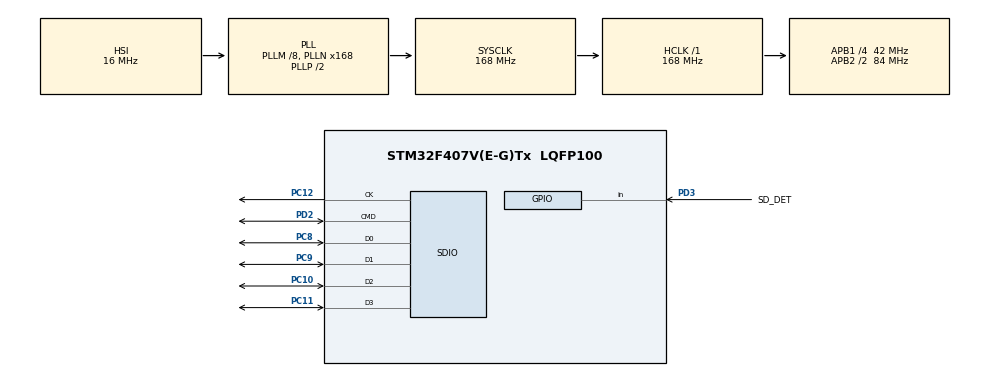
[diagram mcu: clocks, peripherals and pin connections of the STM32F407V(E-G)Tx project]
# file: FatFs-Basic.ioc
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FATFS.BSP.number=1
FATFS._CODE_PAGE=437
FATFS._LFN_UNICODE=0
FATFS._USE_LFN=1
FATFS0.BSP.STBoard=false
FATFS0.BSP.api=Unknown
FATFS0.BSP.i2caddr=0
FATFS0.BSP.instance=PD3
FATFS0.BSP.ip=GPIO
FATFS0.BSP.mode=Input
FATFS0.BSP.name=Detect_SDIO
FATFS0.BSP.solution=PD3
Mcu.Family=STM32F4
Mcu.Name=STM32F407V(E-G)Tx
Mcu.Package=LQFP100
NVIC.PriorityGroup=NVIC_PRIORITYGROUP_4
PC10.Mode=SD_4_bits_Wide_bus
PC10.Signal=SDIO_D2
PC11.Mode=SD_4_bits_Wide_bus
PC11.Signal=SDIO_D3
PC12.Mode=SD_4_bits_Wide_bus
PC12.Signal=SDIO_CK
PC8.Mode=SD_4_bits_Wide_bus
PC8.Signal=SDIO_D0
PC9.Mode=SD_4_bits_Wide_bus
PC9.Signal=SDIO_D1
PD2.Mode=SD_4_bits_Wide_bus
PD2.Signal=SDIO_CMD
PD3.GPIO_Label=SD_DET
PD3.Signal=GPIO_Input
ProjectManager.HeapSize=0x200
ProjectManager.StackSize=0x400
ProjectManager.TargetToolchain=MDK-ARM V5.27
RCC.48MHZClocksFreq_Value=48000000
RCC.AHBFreq_Value=168000000
RCC.APB1CLKDivider=RCC_HCLK_DIV4
RCC.APB1Freq_Value=42000000
RCC.APB1TimFreq_Value=84000000
RCC.APB2CLKDivider=RCC_HCLK_DIV2
RCC.APB2Freq_Value=84000000
RCC.APB2TimFreq_Value=168000000
RCC.CortexFreq_Value=168000000
RCC.HCLKFreq_Value=168000000
RCC.HSE_VALUE=25000000
RCC.HSI_VALUE=16000000
RCC.LSE_VALUE=32768
RCC.PLLM=8
RCC.PLLN=168
RCC.PLLQ=7
RCC.SYSCLKFreq_VALUE=168000000
RCC.SYSCLKSource=RCC_SYSCLKSOURCE_PLLCLK
RCC.VCOOutputFreq_Value=336000000
SDIO.ClockDiv=6
VP_FATFS_VS_SDIO.Mode=SDIO
board=custom

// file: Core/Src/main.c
/* USER CODE BEGIN Header */
/**
  ******************************************************************************
  * @file           : main.c
  * @brief          : Main program body
  ******************************************************************************
  * @attention
  *
  * <h2><center>&copy; Copyright (c) 2024 STMicroelectronics.
  * All rights reserved.</center></h2>
  *
  * This software component is licensed by ST under BSD 3-Clause license,
  * the "License"; You may not use this file except in compliance with the
  * License. You may obtain a copy of the License at:
  *                        opensource.org/licenses/BSD-3-Clause
  *
  ******************************************************************************
  */
/* USER CODE END Header */
#include "main.h"
#include "fatfs.h"
#include "sdio.h"
#include "gpio.h"

/* USER CODE BEGIN Includes */
#include "ALCD.h"
/* USER CODE END Includes */

/* USER CODE BEGIN PV */

// Relative Path:   "<file_name>"       : from current directory
// Relative Path:   "./<file_name>"     : from current directory
// Relative Path:   "../<file_name>"    : from parrent director
// Relative Path:   "../../<file_name>" : from parrent-parrent director
// Absulot Path:    "<drive_num>:/<file_name>"
static const char TEMP_FILE_PATH[] = "MyTest.txt";

static const char STARTUP_FILE[] = "0:/startup.conf";

static const char TEMPLATE[] = "Hello form Nira Board";
/* USER CODE END PV */

void SystemClock_Config(void);

int main(void)
{

  /* MCU Configuration--------------------------------------------------------*/

  /* Reset of all peripherals, Initializes the Flash interface and the Systick. */
  HAL_Init();

  /* Configure the system clock */
  SystemClock_Config();

  /* Initialize all configured peripherals */
  MX_GPIO_Init();
  MX_SDIO_SD_Init();
  MX_FATFS_Init();
  /* USER CODE BEGIN 2 */
  ALCD_init(16, 2);
  ALCD_clear();
  // Mount SD Card
  if (f_mount(&SDFatFS, SDPath, 1) == FR_OK) {
    // Open File for Write
    if (f_open(&SDFile, TEMP_FILE_PATH, FA_CREATE_ALWAYS | FA_WRITE) == FR_OK) {
      // Write Operation
      uint32_t writeBytes;

      f_write(&SDFile, TEMPLATE, sizeof(TEMPLATE) - 1, &writeBytes);
      // Wait for write complete
      while (writeBytes < sizeof(TEMPLATE) - 1);
      // Close file
      f_close(&SDFile);
    }
    // Open File for Read
    if (f_open(&SDFile, STARTUP_FILE, FA_OPEN_EXISTING | FA_READ) == FR_OK) {
      // Write Operation
      char buf[64];
      uint32_t readBytes;

      f_read(&SDFile, buf, sizeof(buf) - 1, &readBytes);
      // Wait for read complete
      while (readBytes < sizeof(buf) - 1 && !f_eof(&SDFile));
      buf[readBytes] = '\0';
      // Close File
      f_close(&SDFile);
      // Print Startup
      ALCD_putsXY(0, 0, buf);
    }
  }

  /* USER CODE END 2 */

  /* Infinite loop */
  while (1)
  {

  }
}

void SystemClock_Config(void)
{
  RCC_OscInitTypeDef RCC_OscInitStruct = {0};
  RCC_ClkInitTypeDef RCC_ClkInitStruct = {0};

  /** Configure the main internal regulator output voltage
  */
  __HAL_RCC_PWR_CLK_ENABLE();
  __HAL_PWR_VOLTAGESCALING_CONFIG(PWR_REGULATOR_VOLTAGE_SCALE1);
  /** Initializes the RCC Oscillators according to the specified parameters
  * in the RCC_OscInitTypeDef structure.
  */
  RCC_OscInitStruct.OscillatorType = RCC_OSCILLATORTYPE_HSI;
  RCC_OscInitStruct.HSIState = RCC_HSI_ON;
  RCC_OscInitStruct.HSICalibrationValue = RCC_HSICALIBRATION_DEFAULT;
  RCC_OscInitStruct.PLL.PLLState = RCC_PLL_ON;
  RCC_OscInitStruct.PLL.PLLSource = RCC_PLLSOURCE_HSI;
  RCC_OscInitStruct.PLL.PLLM = 8;
  RCC_OscInitStruct.PLL.PLLN = 168;
  RCC_OscInitStruct.PLL.PLLP = RCC_PLLP_DIV2;
  RCC_OscInitStruct.PLL.PLLQ = 7;
  if (HAL_RCC_OscConfig(&RCC_OscInitStruct) != HAL_OK)
  {
    Error_Handler();
  }
  /** Initializes the CPU, AHB and APB buses clocks
  */
  RCC_ClkInitStruct.ClockType = RCC_CLOCKTYPE_HCLK|RCC_CLOCKTYPE_SYSCLK
                              |RCC_CLOCKTYPE_PCLK1|RCC_CLOCKTYPE_PCLK2;
  RCC_ClkInitStruct.SYSCLKSource = RCC_SYSCLKSOURCE_PLLCLK;
  RCC_ClkInitStruct.AHBCLKDivider = RCC_SYSCLK_DIV1;
  RCC_ClkInitStruct.APB1CLKDivider = RCC_HCLK_DIV4;
  RCC_ClkInitStruct.APB2CLKDivider = RCC_HCLK_DIV2;

  if (HAL_RCC_ClockConfig(&RCC_ClkInitStruct, FLASH_LATENCY_5) != HAL_OK)
  {
    Error_Handler();
  }
}

void Error_Handler(void)
{
  __disable_irq();
  while (1)
  {
  }
}

/************************ (C) COPYRIGHT STMicroelectronics *****END OF FILE****/
